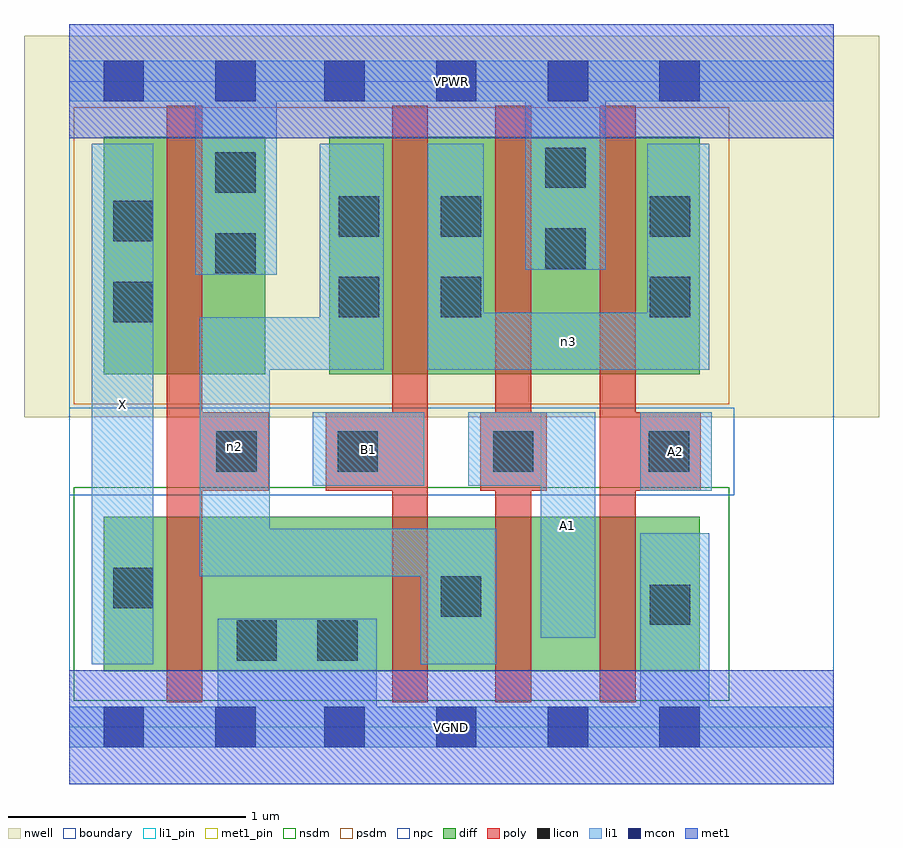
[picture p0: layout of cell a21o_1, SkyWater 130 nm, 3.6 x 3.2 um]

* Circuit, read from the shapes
.subckt a21o_1 A1 A2 B1 VGND VPWR X n2 n3
XM1 VGND n2 X VSUBS sky130_fd_pr__nfet_01v8 w=0.65 l=0.15
XM2 n2 B1 VGND VSUBS sky130_fd_pr__nfet_01v8 w=0.65 l=0.15
XM3 n1 A1 n2 VSUBS sky130_fd_pr__nfet_01v8 w=0.65 l=0.15
XM4 VGND A2 n1 VSUBS sky130_fd_pr__nfet_01v8 w=0.65 l=0.15
XM5 VPWR n2 X n4 sky130_fd_pr__pfet_01v8 w=1 l=0.15
XM6 n3 B1 n2 n4 sky130_fd_pr__pfet_01v8 w=1 l=0.15
XM7 VPWR A1 n3 n4 sky130_fd_pr__pfet_01v8 w=1 l=0.15
XM8 n3 A2 VPWR n4 sky130_fd_pr__pfet_01v8 w=1 l=0.15
.ends

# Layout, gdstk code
import gdstk
lib = gdstk.Library(unit=1e-6, precision=1e-09)
def R(c, l, rs):  # rectangles x0, y0, x1, y1
    for r in rs: c.add(gdstk.rectangle(r[:2], r[2:], *l))
def A(c, l, x, y, w, h, nx, ny, dx, dy):  # array of equal rectangles
    R(c, l, [(x+i*dx, y+j*dy, x+i*dx+w, y+j*dy+h) for i in range(nx) for j in range(ny)])
nwell = (64, 20)
diff = (65, 20)
poly = (66, 20)
licon = (66, 44)
li1_pin = (67, 16)
li1 = (67, 20)
mcon = (67, 44)
met1_pin = (68, 16)
met1 = (68, 20)
nsdm = (93, 44)
psdm = (94, 20)
npc = (95, 20)
boundary = (235, 4)

a21o_1 = lib.new_cell('a21o_1')
R(a21o_1, nwell, [(-0.19,1.305,3.41,2.91), (0,1.305,3.22,2.91)])
R(a21o_1, diff, [(0.145,0.235,2.655,0.885), (0.145,1.485,0.825,2.485), (1.095,1.485,2.655,2.485)])
R(a21o_1, poly, [(0.41,0.105,0.56,2.615), (1.36,0.105,1.51,2.615), (1.795,0.105,1.945,2.615), (2.235,0.105,2.385,2.615), (0.41,0.995,0.84,1.325), (1.08,0.995,1.51,1.325), (1.73,0.995,2.01,1.325), (2.235,0.995,2.66,1.325)])
A(a21o_1, licon, 1.13, 1.075, 0.17, 0.17, 3, 1, 0.655, 0)
R(a21o_1, licon, [(0.705,0.28,0.875,0.45), (1.045,0.28,1.215,0.45), (2.445,0.43,2.615,0.6), (1.565,0.465,1.735,0.635), (0.185,0.5,0.355,0.67), (0.62,1.075,0.79,1.245), (0.185,1.705,0.355,1.875), (1.135,1.725,1.305,1.895), (1.565,1.725,1.735,1.895), (2.445,1.725,2.615,1.895), (0.615,1.91,0.785,2.08), (2.005,1.93,2.175,2.1), (0.185,2.045,0.355,2.215), (1.135,2.065,1.305,2.235), (1.565,2.065,1.735,2.235), (2.445,2.065,2.615,2.235), (0.615,2.25,0.785,2.42), (2.005,2.27,2.175,2.44)])
R(a21o_1, li1_pin, [(0.095,0.265,0.355,2.455), (1.985,0.375,2.215,1.325), (2.405,0.995,2.705,1.325), (1.025,1.015,1.495,1.325)])
R(a21o_1, li1, [(0,-0.085,3.22,0.085), (0.625,-0.085,1.295,0.455), (2.405,-0.085,2.695,0.815), (0.095,0.265,0.355,2.455), (1.48,0.265,1.8,0.835), (1.985,0.375,2.215,1.325), (0.55,0.635,0.845,1.725), (0.55,0.635,1.8,0.835), (2.405,0.995,2.705,1.325), (1.025,1.015,1.495,1.325), (1.68,1.015,2.215,1.325), (0.55,1.505,1.325,1.725), (1.055,1.505,1.325,2.455), (1.51,1.505,2.695,1.745), (1.51,1.505,1.745,2.455), (2.435,1.505,2.695,2.455), (0.53,1.905,0.875,2.805), (1.92,1.925,2.26,2.805), (0,2.635,3.22,2.805)])
A(a21o_1, mcon, 1.075, -0.085, 0.17, 0.17, 4, 2, 0.47, 2.72)
R(a21o_1, mcon, [(0.145,-0.085,0.315,0.085), (0.615,-0.085,0.785,0.085), (0.145,2.635,0.315,2.805), (0.615,2.635,0.785,2.805)])
R(a21o_1, met1_pin, [(0,-0.24,3.22,0.24), (0,2.48,3.22,2.96)])
R(a21o_1, met1, [(0,-0.24,3.22,0.24), (0,2.48,3.22,2.96)])
R(a21o_1, nsdm, [(0.02,0.11,2.78,1.01)])
R(a21o_1, psdm, [(0.02,1.36,2.78,2.61)])
R(a21o_1, npc, [(0,0.975,2.8,1.345)])
R(a21o_1, boundary, [(0,0,3.22,2.72)])
a21o_1.add(gdstk.Label('A1', (2.1,0.85), layer=67, texttype=5))
a21o_1.add(gdstk.Label('A2', (2.555,1.16), layer=67, texttype=5))
a21o_1.add(gdstk.Label('B1', (1.26,1.17), layer=67, texttype=5))
a21o_1.add(gdstk.Label('X', (0.225,1.36), layer=67, texttype=5))
a21o_1.add(gdstk.Label('n2', (0.697,1.18), layer=67, texttype=5))
a21o_1.add(gdstk.Label('n3', (2.102,1.625), layer=67, texttype=5))
a21o_1.add(gdstk.Label('VPWR', (1.61,2.72), layer=68, texttype=5))
a21o_1.add(gdstk.Label('VGND', (1.61,0), layer=68, texttype=5))
a21o_1.add(gdstk.Label('A1', (2.1,0.85), layer=67, texttype=16))
a21o_1.add(gdstk.Label('A2', (2.555,1.16), layer=67, texttype=16))
a21o_1.add(gdstk.Label('B1', (1.26,1.17), layer=67, texttype=16))
a21o_1.add(gdstk.Label('X', (0.225,1.36), layer=67, texttype=16))
a21o_1.add(gdstk.Label('VPWR', (1.61,2.72), layer=68, texttype=16))
a21o_1.add(gdstk.Label('VGND', (1.61,0), layer=68, texttype=16))

lib.write_gds('a21o_1.gds')
